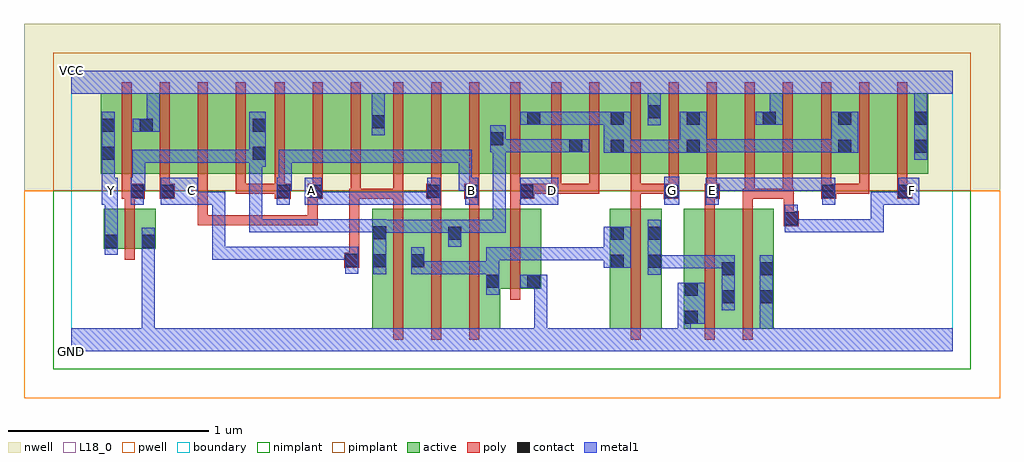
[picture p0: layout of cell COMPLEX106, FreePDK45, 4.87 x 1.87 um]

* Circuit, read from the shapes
.subckt COMPLEX106 A B C D E F G GND VCC Y
M1 GND n1 Y VSUBS nfet w=0.2u l=0.05u
M2 n2 C n1 VSUBS nfet w=0.6u l=0.05u
M3 n1 A n2 VSUBS nfet w=0.6u l=0.05u
M4 n2 B n1 VSUBS nfet w=0.6u l=0.05u
M5 GND D n2 VSUBS nfet w=0.4u l=0.05u
M6 n3 G n2 VSUBS nfet w=0.6u l=0.05u
M7 n3 E GND VSUBS nfet w=0.6u l=0.05u
M8 GND F n3 VSUBS nfet w=0.6u l=0.05u
M9 VCC n1 Y n4 pfet w=0.4u l=0.05u
M10 n5 C VCC n4 pfet w=0.4u l=0.05u
M11 n6 A n5 n4 pfet w=0.4u l=0.05u
M12 n1 B n6 n4 pfet w=0.4u l=0.05u
M13 n7 B n1 n4 pfet w=0.4u l=0.05u
M14 n8 A n7 n4 pfet w=0.4u l=0.05u
M15 VCC C n8 n4 pfet w=0.4u l=0.05u
M16 n9 C VCC n4 pfet w=0.4u l=0.05u
M17 n10 A n9 n4 pfet w=0.4u l=0.05u
M18 n1 B n10 n4 pfet w=0.4u l=0.05u
M19 n11 D n1 n4 pfet w=0.4u l=0.05u m=3
M20 VCC G n11 n4 pfet w=0.4u l=0.05u m=2
M21 n12 E n11 n4 pfet w=0.4u l=0.05u
M22 VCC F n12 n4 pfet w=0.4u l=0.05u
M23 n13 F VCC n4 pfet w=0.4u l=0.05u
M24 n11 E n13 n4 pfet w=0.4u l=0.05u
M25 n14 E n11 n4 pfet w=0.4u l=0.05u
M26 VCC F n14 n4 pfet w=0.4u l=0.05u
.ends

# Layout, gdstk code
import gdstk
lib = gdstk.Library(unit=1e-6, precision=1e-09)
def R(c, l, rs):  # rectangles x0, y0, x1, y1
    for r in rs: c.add(gdstk.rectangle(r[:2], r[2:], *l))
def A(c, l, x, y, w, h, nx, ny, dx, dy):  # array of equal rectangles
    R(c, l, [(x+i*dx, y+j*dy, x+i*dx+w, y+j*dy+h) for i in range(nx) for j in range(ny)])
active = (1, 0)
pwell = (2, 0)
nwell = (3, 0)
nimplant = (4, 0)
pimplant = (5, 0)
poly = (9, 0)
contact = (10, 0)
metal1 = (11, 0)
L18_0 = (18, 0)
boundary = (235, 0)

complex106 = lib.new_cell('COMPLEX106')
R(complex106, active, [(1.502,0.112,1.767,0.712), (1.692,0.112,1.952,0.712), (1.877,0.112,2.142,0.712), (2.687,0.112,2.947,0.712), (3.057,0.112,3.317,0.712), (3.057,0.112,3.132,0.712), (3.242,0.112,3.507,0.712), (1.502,0.145,1.577,0.712), (1.692,0.145,1.767,0.692), (1.877,0.145,1.952,0.692), (2.687,0.145,2.762,0.712), (2.872,0.145,2.947,0.712), (3.242,0.145,3.317,0.692), (3.432,0.145,3.507,0.712), (2.067,0.2,2.142,0.597), (2.067,0.312,2.347,0.712), (2.272,0.312,2.347,0.492), (0.162,0.512,0.237,0.712), (0.162,0.512,0.422,0.712), (0.347,0.512,0.422,0.712), (0.147,0.887,0.222,1.2), (0.147,0.887,0.412,1.287), (0.337,0.887,0.412,1.255), (0.337,0.887,0.562,1.287), (0.562,0.887,0.752,1.287), (0.752,0.887,0.977,1.287), (0.902,0.887,0.977,1.2), (0.902,0.887,1.135,1.287), (1.135,0.887,1.325,1.287), (1.325,0.887,1.57,1.287), (1.495,0.887,1.57,1.255), (1.495,0.887,1.727,1.287), (1.727,0.887,1.917,1.287), (1.917,0.887,2.162,1.287), (2.087,0.887,2.162,1.2), (2.087,0.887,2.347,1.287), (2.272,0.887,2.347,1.2), (2.272,0.887,2.555,1.287), (2.48,0.887,2.762,1.287), (2.48,0.887,2.555,1.07), (2.687,0.887,2.762,1.2), (2.687,0.887,2.947,1.287), (2.872,0.887,2.947,1.255), (2.872,0.887,3.142,1.287), (3.067,0.887,3.292,1.287), (3.067,0.887,3.142,1.2), (3.292,0.887,3.522,1.287), (3.447,0.887,3.522,1.255), (3.447,0.887,3.672,1.287), (3.672,0.887,3.897,1.287), (3.822,0.887,4.052,1.287), (3.822,0.887,3.897,1.2), (4.052,0.887,4.277,1.287), (4.202,0.887,4.277,1.255)])
R(complex106, pwell, [(-0.235,-0.235,4.635,0.8)])
R(complex106, nwell, [(-0.235,0.8,4.635,1.635)])
R(complex106, nimplant, [(-0.09,-0.09,4.49,0.8)])
R(complex106, pimplant, [(-0.09,0.8,4.49,1.49)])
A(complex106, poly, 1.607, 0.057, 0.05, 0.71, 3, 1, 0.19, 0)
A(complex106, poly, 1.607, 0.717, 0.05, 0.095, 3, 1, 0.19, 0)
A(complex106, poly, 2.792, 0.787, 0.05, 0.095, 3, 1, 0.19, 0)
A(complex106, poly, 3.742, 0.787, 0.05, 0.095, 3, 1, 0.19, 0)
A(complex106, poly, 0.252, 0.832, 0.05, 0.51, 4, 1, 0.19, 0)
A(complex106, poly, 1.015, 0.832, 0.05, 0.51, 3, 1, 0.19, 0)
A(complex106, poly, 1.607, 0.832, 0.05, 0.51, 3, 1, 0.19, 0)
A(complex106, poly, 2.792, 0.832, 0.05, 0.51, 8, 1, 0.19, 0)
R(complex106, poly, [(2.792,0.057,2.842,0.767), (3.162,0.057,3.212,0.767), (3.352,0.057,3.402,0.767), (2.192,0.257,2.242,0.767), (1.362,0.417,1.437,0.492), (1.387,0.442,1.437,0.492), (1.387,0.442,1.437,0.492), (1.387,0.442,1.437,0.812), (0.267,0.457,0.317,0.767), (3.557,0.625,3.632,0.7), (0.632,0.63,0.682,0.68), (0.632,0.63,0.682,0.68), (0.632,0.63,0.682,0.68), (0.632,0.63,0.682,0.68), (0.632,0.63,0.682,0.68), (0.632,0.63,0.682,0.68), (0.632,0.63,0.682,0.68), (0.632,0.63,0.932,0.68), (0.632,0.63,0.682,0.882), (0.882,0.63,0.932,0.68), (0.882,0.63,0.932,0.68), (0.882,0.63,0.932,0.68), (0.882,0.63,1.097,0.68), (1.047,0.63,1.097,0.68), (1.047,0.63,1.097,0.68), (1.047,0.63,1.097,0.68), (1.047,0.63,1.23,0.68), (1.18,0.63,1.23,0.68), (1.18,0.63,1.23,0.812), (3.557,0.65,3.607,0.812), (0.267,0.717,0.317,0.812), (2.192,0.717,2.242,0.812), (2.792,0.717,2.842,0.837), (3.162,0.717,3.212,0.812), (3.352,0.717,3.402,0.812), (0.252,0.762,0.367,0.837), (0.442,0.762,0.517,0.837), (1.015,0.762,1.097,0.837), (1.18,0.762,1.255,0.837), (1.18,0.762,1.23,0.812), (1.18,0.762,1.23,0.812), (1.387,0.762,1.445,0.812), (1.395,0.762,1.445,0.812), (1.395,0.762,1.445,0.812), (1.395,0.762,1.445,0.882), (1.395,0.762,1.657,0.812), (1.607,0.762,1.657,0.812), (1.607,0.762,1.657,0.882), (1.772,0.762,1.847,0.837), (1.962,0.762,2.037,0.837), (2.192,0.762,2.312,0.837), (2.957,0.762,3.032,0.837), (3.162,0.762,3.237,0.837), (3.352,0.762,3.412,0.812), (3.362,0.762,3.412,0.882), (3.362,0.762,3.602,0.812), (3.552,0.762,3.602,0.812), (3.552,0.762,3.602,0.812), (3.552,0.762,3.602,0.812), (3.552,0.762,3.602,0.812), (3.552,0.762,3.602,0.882), (3.552,0.762,3.607,0.812), (3.742,0.762,3.817,0.837), (4.122,0.762,4.197,0.837), (0.252,0.787,0.302,0.882), (0.442,0.787,0.492,0.882), (0.822,0.787,0.872,0.882), (0.822,0.787,0.872,0.837), (0.822,0.787,0.872,0.837), (0.822,0.787,0.872,0.837), (0.822,0.787,1.065,0.837), (1.015,0.787,1.065,0.882), (1.205,0.787,1.255,0.882), (1.797,0.787,1.847,0.882), (1.987,0.787,2.037,0.882), (2.192,0.787,2.242,0.882), (2.262,0.787,2.312,0.837), (2.262,0.787,2.312,0.837), (2.262,0.787,2.445,0.837), (2.395,0.787,2.445,0.882), (2.395,0.787,2.445,0.837), (2.395,0.787,2.635,0.837), (2.585,0.787,2.635,0.882), (2.585,0.787,2.635,0.837), (2.585,0.787,2.635,0.837), (2.585,0.787,2.635,0.837), (2.792,0.787,2.842,0.837), (2.792,0.787,3.007,0.837), (2.957,0.787,3.007,0.837), (2.957,0.787,3.007,0.837), (3.767,0.787,3.982,0.837), (3.932,0.787,3.982,0.837), (3.932,0.787,3.982,0.837), (3.932,0.787,3.982,0.837), (2.192,0.832,2.242,1.342), (2.395,0.832,2.445,1.342), (2.585,0.832,2.635,1.342)])
A(complex106, contact, 2.692, 1.13, 0.065, 0.065, 3, 1, 0.38, 0)
R(complex106, contact, [(3.062,0.137,3.127,0.202), (3.247,0.24,3.312,0.305), (3.437,0.24,3.502,0.305), (3.062,0.277,3.127,0.342), (2.072,0.317,2.137,0.382), (2.277,0.317,2.342,0.382), (3.247,0.38,3.312,0.445), (3.437,0.38,3.502,0.445), (2.692,0.417,2.757,0.482), (2.877,0.417,2.942,0.482), (1.507,0.42,1.572,0.485), (1.697,0.42,1.762,0.485), (1.367,0.422,1.432,0.487), (0.167,0.517,0.232,0.582), (0.352,0.517,0.417,0.582), (1.882,0.557,1.947,0.622), (2.692,0.557,2.757,0.622), (2.877,0.557,2.942,0.622), (1.507,0.56,1.572,0.625), (3.562,0.63,3.627,0.695), (0.297,0.767,0.362,0.832), (0.447,0.767,0.512,0.832), (1.027,0.767,1.092,0.832), (1.185,0.767,1.25,0.832), (1.777,0.767,1.842,0.832), (1.967,0.767,2.032,0.832), (2.242,0.767,2.307,0.832), (2.962,0.767,3.027,0.832), (3.167,0.767,3.232,0.832), (3.747,0.767,3.812,0.832), (4.127,0.767,4.192,0.832), (0.152,0.955,0.217,1.02), (0.907,0.955,0.972,1.02), (2.692,0.99,2.757,1.055), (3.072,0.99,3.137,1.055), (3.827,0.99,3.892,1.055), (4.207,0.99,4.272,1.055), (2.485,0.992,2.55,1.057), (2.092,1.027,2.157,1.092), (0.152,1.095,0.217,1.16), (0.342,1.095,0.407,1.16), (0.907,1.095,0.972,1.16), (1.5,1.112,1.565,1.177), (2.277,1.13,2.342,1.195), (3.827,1.13,3.892,1.195), (4.207,1.13,4.272,1.195), (2.877,1.162,2.942,1.227)])
R(complex106, metal1, [(0,0,4.4,0.115), (0.352,0.05,0.417,0.115), (0.352,0.05,0.417,0.115), (0.352,0.05,0.417,0.547), (2.312,0.05,2.377,0.115), (2.312,0.05,2.377,0.115), (2.312,0.05,2.377,0.382), (3.027,0.05,3.092,0.115), (3.027,0.05,3.092,0.115), (3.027,0.05,3.092,0.202), (3.437,0.05,3.502,0.115), (3.437,0.05,3.502,0.115), (3.437,0.05,3.502,0.27), (3.027,0.137,3.162,0.342), (3.247,0.205,3.312,0.48), (3.437,0.205,3.502,0.48), (2.072,0.282,2.137,0.52), (2.242,0.317,2.377,0.382), (2.312,0.317,2.377,0.382), (2.312,0.317,2.377,0.382), (2.877,0.382,2.942,0.657), (1.507,0.385,1.572,0.66), (1.697,0.385,1.762,0.45), (1.697,0.385,1.762,0.45), (1.697,0.385,1.762,0.52), (1.697,0.385,2,0.45), (1.935,0.385,2.137,0.45), (1.935,0.385,2,0.45), (2.072,0.385,2.137,0.45), (2.072,0.385,2.137,0.45), (1.367,0.387,1.432,0.522), (2.877,0.415,2.942,0.48), (2.877,0.415,2.942,0.48), (2.877,0.415,3.172,0.48), (3.107,0.415,3.172,0.48), (3.107,0.415,3.172,0.48), (3.107,0.415,3.172,0.48), (3.107,0.415,3.312,0.48), (2.657,0.417,2.792,0.622), (2.072,0.455,2.307,0.52), (2.242,0.455,2.307,0.52), (2.242,0.455,2.307,0.52), (2.242,0.455,2.307,0.52), (2.242,0.455,2.307,0.52), (2.242,0.455,2.307,0.52), (2.242,0.455,2.515,0.52), (2.45,0.455,2.515,0.52), (2.45,0.455,2.515,0.52), (2.45,0.455,2.515,0.52), (2.45,0.455,2.655,0.52), (2.59,0.455,2.655,0.52), (2.59,0.455,2.722,0.52), (0.705,0.457,0.907,0.522), (0.705,0.457,0.77,0.522), (0.705,0.457,0.77,0.797), (0.842,0.457,0.907,0.522), (0.842,0.457,0.907,0.522), (0.842,0.457,0.907,0.522), (0.842,0.457,1.092,0.522), (1.027,0.457,1.092,0.522), (1.027,0.457,1.092,0.522), (1.027,0.457,1.092,0.522), (1.027,0.457,1.25,0.522), (1.185,0.457,1.25,0.522), (1.185,0.457,1.25,0.522), (1.185,0.457,1.25,0.522), (1.185,0.457,1.432,0.522), (0.167,0.482,0.232,0.617), (0.352,0.482,0.417,0.547), (0.352,0.482,0.417,0.547), (0.352,0.482,0.417,0.547), (0.352,0.482,0.417,0.547), (0.352,0.482,0.417,0.547), (0.352,0.482,0.417,0.547), (0.352,0.482,0.417,0.617), (1.882,0.522,1.947,0.657), (0.167,0.552,0.232,0.797), (1.507,0.592,1.572,0.657), (1.507,0.592,1.572,0.657), (1.507,0.592,1.722,0.657), (1.657,0.592,1.722,0.657), (1.657,0.592,1.722,0.657), (1.657,0.592,1.722,0.657), (1.657,0.592,1.947,0.657), (1.882,0.592,2.17,0.657), (2.105,0.592,2.17,0.657), (2.105,0.592,2.17,0.657), (2.105,0.592,2.17,0.657), (2.105,0.592,2.17,0.657), (2.105,0.592,2.17,0.657), (2.105,0.592,2.17,1.057), (0.89,0.595,1.092,0.66), (0.89,0.595,0.955,0.66), (0.89,0.595,0.955,0.66), (0.89,0.595,0.955,0.66), (0.89,0.595,0.955,0.985), (1.027,0.595,1.092,0.66), (1.027,0.595,1.092,0.66), (1.027,0.595,1.092,0.66), (1.027,0.595,1.24,0.66), (1.175,0.595,1.24,0.66), (1.175,0.595,1.24,0.66), (1.175,0.595,1.24,0.66), (1.175,0.595,1.387,0.66), (1.322,0.595,1.387,0.66), (1.322,0.595,1.572,0.66), (3.562,0.595,3.627,0.66), (3.562,0.595,3.627,0.66), (3.562,0.595,3.627,0.66), (3.562,0.595,3.627,0.66), (3.562,0.595,3.627,0.73), (3.562,0.595,3.765,0.66), (3.7,0.595,3.765,0.66), (3.7,0.595,3.765,0.66), (3.7,0.595,3.765,0.66), (3.7,0.595,4.055,0.66), (3.99,0.595,4.055,0.797), (3.99,0.595,4.055,0.66), (3.99,0.595,4.055,0.66), (3.99,0.595,4.055,0.66), (2.96,0.73,3.035,0.87), (0.152,0.732,0.232,0.867), (0.297,0.732,0.362,0.867), (0.447,0.732,0.632,0.867), (0.567,0.732,0.632,0.797), (0.567,0.732,0.632,0.797), (0.567,0.732,0.77,0.797), (0.705,0.732,0.77,0.797), (0.705,0.732,0.77,0.797), (0.705,0.732,0.77,0.797), (0.705,0.732,0.77,0.797), (0.705,0.732,0.77,0.797), (1.027,0.732,1.092,0.867), (1.167,0.732,1.25,0.867), (1.185,0.732,1.25,0.797), (1.185,0.732,1.25,0.797), (1.185,0.732,1.417,0.797), (1.352,0.732,1.417,0.797), (1.352,0.732,1.585,0.797), (1.52,0.732,1.585,0.797), (1.52,0.732,1.585,0.797), (1.52,0.732,1.585,0.797), (1.52,0.732,1.81,0.797), (1.745,0.732,1.81,0.797), (1.745,0.732,1.842,0.797), (1.777,0.732,1.842,0.867), (1.967,0.732,2.032,0.867), (2.242,0.732,2.432,0.867), (3.167,0.732,3.232,0.867), (3.747,0.732,3.812,0.867), (3.99,0.732,4.192,0.797), (3.99,0.732,4.055,0.797), (4.127,0.732,4.232,0.867), (0.152,0.802,0.217,0.985), (0.297,0.802,0.37,0.867), (0.305,0.802,0.37,0.867), (0.305,0.802,0.37,1.005), (1.027,0.802,1.102,0.867), (1.037,0.802,1.102,0.867), (1.037,0.802,1.102,1.005), (1.935,0.802,2,0.867), (1.935,0.802,2.032,0.867), (1.935,0.802,2,1.005), (3.167,0.802,3.31,0.867), (3.245,0.802,3.31,0.867), (3.245,0.802,3.482,0.867), (3.417,0.802,3.482,0.867), (3.417,0.802,3.482,0.867), (3.417,0.802,3.482,0.867), (3.417,0.802,3.62,0.867), (3.555,0.802,3.62,0.867), (3.555,0.802,3.62,0.867), (3.555,0.802,3.62,0.867), (3.555,0.802,3.812,0.867), (0.152,0.92,0.217,1.195), (0.89,0.92,0.972,1.195), (0.305,0.94,0.507,1.005), (0.305,0.94,0.37,1.005), (0.442,0.94,0.507,1.005), (0.442,0.94,0.507,1.005), (0.442,0.94,0.507,1.005), (0.442,0.94,0.77,1.005), (0.705,0.94,0.77,1.005), (0.705,0.94,0.77,1.005), (0.705,0.94,0.77,1.005), (0.705,0.94,0.955,1.005), (0.89,0.94,0.955,1.005), (0.89,0.94,0.955,1.005), (1.037,0.94,1.102,1.005), (1.037,0.94,1.25,1.005), (1.185,0.94,1.387,1.005), (1.185,0.94,1.25,1.005), (1.322,0.94,1.387,1.005), (1.322,0.94,1.387,1.005), (1.322,0.94,1.387,1.005), (1.322,0.94,1.555,1.005), (1.49,0.94,1.555,1.005), (1.49,0.94,1.555,1.005), (1.49,0.94,1.555,1.005), (1.49,0.94,1.722,1.005), (1.657,0.94,1.722,1.005), (1.657,0.94,1.722,1.005), (1.657,0.94,1.722,1.005), (1.657,0.94,2,1.005), (1.935,0.94,2,1.005), (4.207,0.955,4.272,1.23), (2.657,0.99,2.792,1.195), (2.727,0.99,2.792,1.055), (2.727,0.99,2.792,1.055), (2.727,0.99,2.792,1.055), (2.727,0.99,2.792,1.055), (2.727,0.99,2.955,1.055), (2.89,0.99,2.955,1.055), (2.89,0.99,2.955,1.055), (2.89,0.99,2.955,1.055), (2.89,0.99,3.102,1.055), (3.037,0.99,3.172,1.195), (3.792,0.99,3.927,1.195), (2.092,0.992,2.17,1.127), (2.105,0.992,2.377,1.057), (2.312,0.992,2.377,1.057), (2.312,0.992,2.377,1.057), (2.312,0.992,2.377,1.057), (2.312,0.992,2.515,1.057), (2.45,0.992,2.515,1.057), (2.45,0.992,2.515,1.057), (2.45,0.992,2.585,1.057), (3.107,0.992,3.172,1.057), (3.107,0.992,3.172,1.057), (3.107,0.992,3.345,1.057), (3.28,0.992,3.482,1.057), (3.28,0.992,3.345,1.057), (3.417,0.992,3.482,1.057), (3.417,0.992,3.482,1.057), (3.417,0.992,3.482,1.057), (3.417,0.992,3.62,1.057), (3.555,0.992,3.62,1.057), (3.555,0.992,3.62,1.057), (3.555,0.992,3.62,1.057), (3.555,0.992,3.857,1.057), (3.792,0.992,3.857,1.057), (3.792,0.992,3.857,1.057), (1.5,1.077,1.565,1.212), (0.307,1.095,0.442,1.16), (0.377,1.095,0.442,1.35), (2.877,1.127,2.942,1.262), (2.242,1.13,2.377,1.195), (2.312,1.13,2.515,1.195), (2.45,1.13,2.652,1.195), (2.45,1.13,2.515,1.195), (2.45,1.13,2.515,1.195), (2.45,1.13,2.515,1.195), (2.587,1.13,2.652,1.195), (2.587,1.13,2.722,1.195), (3.417,1.13,3.552,1.195), (3.487,1.13,3.552,1.35), (1.5,1.147,1.565,1.35), (4.207,1.165,4.272,1.35), (2.877,1.197,2.942,1.35), (0,1.285,4.4,1.4)])
R(complex106, L18_0, [(0,0,4.4,0.115), (0.352,0.05,0.417,0.115), (0.352,0.05,0.417,0.115), (0.352,0.05,0.417,0.547), (2.312,0.05,2.377,0.115), (2.312,0.05,2.377,0.115), (2.312,0.05,2.377,0.382), (3.027,0.05,3.092,0.115), (3.027,0.05,3.092,0.115), (3.027,0.05,3.092,0.202), (3.437,0.05,3.502,0.115), (3.437,0.05,3.502,0.115), (3.437,0.05,3.502,0.27), (3.027,0.137,3.162,0.342), (3.437,0.205,3.502,0.48), (2.242,0.317,2.377,0.382), (2.312,0.317,2.377,0.382), (2.312,0.317,2.377,0.382), (1.367,0.387,1.432,0.522), (0.705,0.457,0.77,0.522), (0.705,0.457,0.77,0.797), (0.705,0.457,0.907,0.522), (0.842,0.457,0.907,0.522), (0.842,0.457,0.907,0.522), (0.842,0.457,0.907,0.522), (0.842,0.457,1.092,0.522), (1.027,0.457,1.092,0.522), (1.027,0.457,1.092,0.522), (1.027,0.457,1.092,0.522), (1.027,0.457,1.25,0.522), (1.185,0.457,1.25,0.522), (1.185,0.457,1.25,0.522), (1.185,0.457,1.25,0.522), (1.185,0.457,1.432,0.522), (0.167,0.482,0.232,0.617), (0.352,0.482,0.417,0.617), (0.352,0.482,0.417,0.547), (0.352,0.482,0.417,0.547), (0.352,0.482,0.417,0.547), (0.352,0.482,0.417,0.547), (0.352,0.482,0.417,0.547), (0.352,0.482,0.417,0.547), (0.167,0.552,0.232,0.797), (3.562,0.595,3.627,0.73), (3.562,0.595,3.627,0.66), (3.562,0.595,3.627,0.66), (3.562,0.595,3.627,0.66), (3.562,0.595,3.627,0.66), (3.562,0.595,3.765,0.66), (3.7,0.595,3.765,0.66), (3.7,0.595,3.765,0.66), (3.7,0.595,3.765,0.66), (3.7,0.595,4.055,0.66), (3.99,0.595,4.055,0.66), (3.99,0.595,4.055,0.66), (3.99,0.595,4.055,0.66), (3.99,0.595,4.055,0.797), (2.96,0.73,3.035,0.87), (0.152,0.732,0.232,0.867), (0.447,0.732,0.632,0.867), (0.567,0.732,0.632,0.797), (0.567,0.732,0.632,0.797), (0.567,0.732,0.77,0.797), (0.705,0.732,0.77,0.797), (0.705,0.732,0.77,0.797), (0.705,0.732,0.77,0.797), (0.705,0.732,0.77,0.797), (0.705,0.732,0.77,0.797), (1.027,0.732,1.092,0.867), (1.167,0.732,1.25,0.867), (1.185,0.732,1.25,0.797), (1.185,0.732,1.25,0.797), (1.185,0.732,1.417,0.797), (1.352,0.732,1.417,0.797), (1.352,0.732,1.585,0.797), (1.52,0.732,1.585,0.797), (1.52,0.732,1.585,0.797), (1.52,0.732,1.585,0.797), (1.52,0.732,1.81,0.797), (1.745,0.732,1.81,0.797), (1.745,0.732,1.842,0.797), (1.777,0.732,1.842,0.867), (1.967,0.732,2.032,0.867), (2.242,0.732,2.432,0.867), (3.167,0.732,3.232,0.867), (3.747,0.732,3.812,0.867), (3.99,0.732,4.055,0.797), (3.99,0.732,4.192,0.797), (4.127,0.732,4.232,0.867), (0.167,0.767,0.232,0.832), (0.567,0.767,0.632,0.832), (1.167,0.767,1.232,0.832), (1.967,0.767,2.032,0.832), (2.367,0.767,2.432,0.832), (2.967,0.767,3.032,0.832), (3.167,0.767,3.232,0.832), (4.167,0.767,4.232,0.832), (0.152,0.802,0.217,0.985), (1.027,0.802,1.102,0.867), (1.037,0.802,1.102,0.867), (1.037,0.802,1.102,1.005), (1.935,0.802,2,0.867), (1.935,0.802,2,1.005), (1.935,0.802,2.032,0.867), (3.167,0.802,3.31,0.867), (3.245,0.802,3.31,0.867), (3.245,0.802,3.482,0.867), (3.417,0.802,3.482,0.867), (3.417,0.802,3.482,0.867), (3.417,0.802,3.482,0.867), (3.417,0.802,3.62,0.867), (3.555,0.802,3.62,0.867), (3.555,0.802,3.62,0.867), (3.555,0.802,3.62,0.867), (3.555,0.802,3.812,0.867), (0.152,0.92,0.217,1.195), (1.037,0.94,1.102,1.005), (1.037,0.94,1.25,1.005), (1.185,0.94,1.25,1.005), (1.185,0.94,1.387,1.005), (1.322,0.94,1.387,1.005), (1.322,0.94,1.387,1.005), (1.322,0.94,1.387,1.005), (1.322,0.94,1.555,1.005), (1.49,0.94,1.555,1.005), (1.49,0.94,1.555,1.005), (1.49,0.94,1.555,1.005), (1.49,0.94,1.722,1.005), (1.657,0.94,1.722,1.005), (1.657,0.94,1.722,1.005), (1.657,0.94,1.722,1.005), (1.657,0.94,2,1.005), (1.935,0.94,2,1.005), (4.207,0.955,4.272,1.23), (1.5,1.077,1.565,1.212), (0.307,1.095,0.442,1.16), (0.377,1.095,0.442,1.35), (2.877,1.127,2.942,1.262), (3.417,1.13,3.552,1.195), (3.487,1.13,3.552,1.35), (1.5,1.147,1.565,1.35), (4.207,1.165,4.272,1.35), (2.877,1.197,2.942,1.35), (0,1.285,4.4,1.4)])
R(complex106, boundary, [(0,0,4.4,1.4)])
complex106.add(gdstk.Label('A', (1.2,0.8), layer=11, texttype=0))
complex106.add(gdstk.Label('B', (2,0.8), layer=11, texttype=0))
complex106.add(gdstk.Label('C', (0.6,0.8), layer=11, texttype=0))
complex106.add(gdstk.Label('D', (2.4,0.8), layer=11, texttype=0))
complex106.add(gdstk.Label('E', (3.2,0.8), layer=11, texttype=0))
complex106.add(gdstk.Label('F', (4.2,0.8), layer=11, texttype=0))
complex106.add(gdstk.Label('G', (3,0.8), layer=11, texttype=0))
complex106.add(gdstk.Label('Y', (0.2,0.8), layer=11, texttype=0))
complex106.add(gdstk.Label('VCC', (0,1.4), layer=11, texttype=0))
complex106.add(gdstk.Label('GND', (0,0), layer=11, texttype=0))

lib.write_gds('COMPLEX106.gds')
